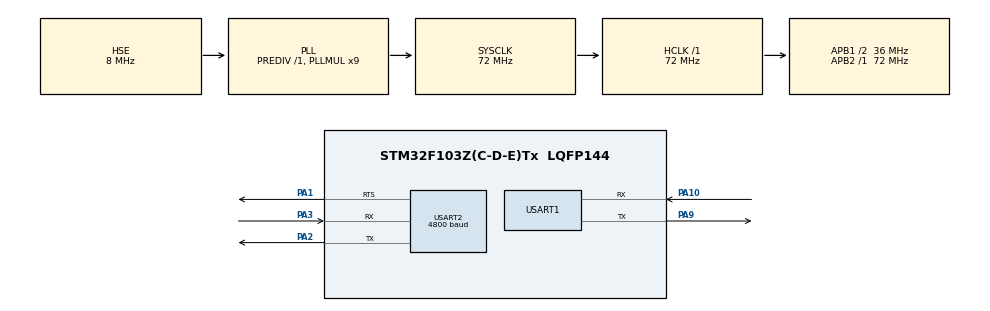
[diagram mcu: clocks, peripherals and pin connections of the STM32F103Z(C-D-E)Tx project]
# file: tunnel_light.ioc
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Mcu.Family=STM32F1
Mcu.Name=STM32F103Z(C-D-E)Tx
Mcu.Package=LQFP144
NVIC.PriorityGroup=NVIC_PRIORITYGROUP_4
NVIC.USART1_IRQn=true\:0\:0\:false\:false\:true\:true\:true
NVIC.USART2_IRQn=true\:0\:0\:false\:false\:true\:true\:true
OSC_IN.Mode=HSE-External-Oscillator
OSC_IN.Signal=RCC_OSC_IN
OSC_OUT.Mode=HSE-External-Oscillator
OSC_OUT.Signal=RCC_OSC_OUT
PA1.Mode=RTS_Only
PA1.Signal=USART2_RTS
PA10.Mode=Asynchronous
PA10.Signal=USART1_RX
PA13.Mode=Serial_Wire
PA13.Signal=SYS_JTMS-SWDIO
PA14.Mode=Serial_Wire
PA14.Signal=SYS_JTCK-SWCLK
PA2.Mode=Asynchronous
PA2.Signal=USART2_TX
PA3.Mode=Asynchronous
PA3.Signal=USART2_RX
PA9.Mode=Asynchronous
PA9.Signal=USART1_TX
ProjectManager.HeapSize=0x200
ProjectManager.StackSize=0x400
ProjectManager.TargetToolchain=MDK-ARM V5.27
RCC.AHBFreq_Value=72000000
RCC.APB1CLKDivider=RCC_HCLK_DIV2
RCC.APB1Freq_Value=36000000
RCC.APB1TimFreq_Value=72000000
RCC.APB2Freq_Value=72000000
RCC.APB2TimFreq_Value=72000000
RCC.HCLKFreq_Value=72000000
RCC.PLLMUL=RCC_PLL_MUL9
RCC.PLLSourceVirtual=RCC_PLLSOURCE_HSE
RCC.SYSCLKFreq_VALUE=72000000
RCC.SYSCLKSource=RCC_SYSCLKSOURCE_PLLCLK
RCC.USBFreq_Value=72000000
USART1.VirtualMode=VM_ASYNC
USART2.BaudRate=4800
USART2.VirtualMode=VM_ASYNC
board=custom

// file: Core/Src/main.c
/* USER CODE BEGIN Header */
/**
  ******************************************************************************
  * @file           : main.c
  * @brief          : Main program body
  ******************************************************************************
  * @attention
  *
  * <h2><center>&copy; Copyright (c) 2021 STMicroelectronics.
  * All rights reserved.</center></h2>
  *
  * This software component is licensed by ST under BSD 3-Clause license,
  * the "License"; You may not use this file except in compliance with the
  * License. You may obtain a copy of the License at:
  *                        opensource.org/licenses/BSD-3-Clause
  *
  ******************************************************************************
  */
/* USER CODE END Header */
#include "main.h"

/* USER CODE BEGIN Includes */
#include "stdio.h"
#include "stdint.h"
/* USER CODE END Includes */

UART_HandleTypeDef huart1;
UART_HandleTypeDef huart2;

/* USER CODE BEGIN PV */
uint8_t rs485buf[8] ={0X01,0X03,0X00,0X03,0X00,0X01,0X74,0X0A};
uint8_t rs1[7];		// 用来接收串口2发送的数据
/* USER CODE END PV */

void SystemClock_Config(void);
static void MX_GPIO_Init(void);
static void MX_USART1_UART_Init(void);
static void MX_USART2_UART_Init(void);
/* USER CODE BEGIN PFP */
int fputc(int ch,FILE *f)
{
   HAL_UART_Transmit(&huart1,(uint8_t *)&ch,1,0xFFFF);
   return ch;
}

/* USER CODE END PFP */

int main(void)
{

  /* MCU Configuration--------------------------------------------------------*/

  /* Reset of all peripherals, Initializes the Flash interface and the Systick. */
  HAL_Init();

  /* Configure the system clock */
  SystemClock_Config();

  /* Initialize all configured peripherals */
  MX_GPIO_Init();
  MX_USART1_UART_Init();
  MX_USART2_UART_Init();
  /* USER CODE BEGIN 2 */
  // HAL_UART_Receive_IT(&huart2,(uint8_t *)&rs1,7);

  /* USER CODE END 2 */

  /* Infinite loop */
  /* USER CODE BEGIN WHILE */
  while (1)
  {
    HAL_Delay(10);
    HAL_UART_Transmit(&huart2, (uint8_t*)&rs485buf, sizeof(rs485buf), 5000);

    HAL_Delay(100);
      printf("%02x\t\n",rs1[0]);
			printf("%02x\t\n",rs1[1]);
			printf("%02x\t\n",rs1[2]);
			printf("%02x\t\n",rs1[3]);
			printf("%02x\t\n",rs1[4]);
			printf("%02x\t\n",rs1[5]);
			printf("%02x\t\n",rs1[6]);

    /* USER CODE END WHILE */

  }
}

void SystemClock_Config(void)
{
  RCC_OscInitTypeDef RCC_OscInitStruct = {0};
  RCC_ClkInitTypeDef RCC_ClkInitStruct = {0};

  /** Initializes the RCC Oscillators according to the specified parameters
  * in the RCC_OscInitTypeDef structure.
  */
  RCC_OscInitStruct.OscillatorType = RCC_OSCILLATORTYPE_HSE;
  RCC_OscInitStruct.HSEState = RCC_HSE_ON;
  RCC_OscInitStruct.HSEPredivValue = RCC_HSE_PREDIV_DIV1;
  RCC_OscInitStruct.HSIState = RCC_HSI_ON;
  RCC_OscInitStruct.PLL.PLLState = RCC_PLL_ON;
  RCC_OscInitStruct.PLL.PLLSource = RCC_PLLSOURCE_HSE;
  RCC_OscInitStruct.PLL.PLLMUL = RCC_PLL_MUL9;
  if (HAL_RCC_OscConfig(&RCC_OscInitStruct) != HAL_OK)
  {
    Error_Handler();
  }
  /** Initializes the CPU, AHB and APB buses clocks
  */
  RCC_ClkInitStruct.ClockType = RCC_CLOCKTYPE_HCLK|RCC_CLOCKTYPE_SYSCLK
                              |RCC_CLOCKTYPE_PCLK1|RCC_CLOCKTYPE_PCLK2;
  RCC_ClkInitStruct.SYSCLKSource = RCC_SYSCLKSOURCE_PLLCLK;
  RCC_ClkInitStruct.AHBCLKDivider = RCC_SYSCLK_DIV1;
  RCC_ClkInitStruct.APB1CLKDivider = RCC_HCLK_DIV2;
  RCC_ClkInitStruct.APB2CLKDivider = RCC_HCLK_DIV1;

  if (HAL_RCC_ClockConfig(&RCC_ClkInitStruct, FLASH_LATENCY_2) != HAL_OK)
  {
    Error_Handler();
  }
}

static void MX_USART1_UART_Init(void)
{

  huart1.Instance = USART1;
  huart1.Init.BaudRate = 115200;
  huart1.Init.WordLength = UART_WORDLENGTH_8B;
  huart1.Init.StopBits = UART_STOPBITS_1;
  huart1.Init.Parity = UART_PARITY_NONE;
  huart1.Init.Mode = UART_MODE_TX_RX;
  huart1.Init.HwFlowCtl = UART_HWCONTROL_NONE;
  huart1.Init.OverSampling = UART_OVERSAMPLING_16;
  if (HAL_UART_Init(&huart1) != HAL_OK)
  {
    Error_Handler();
  }

}

static void MX_USART2_UART_Init(void)
{

  huart2.Instance = USART2;
  huart2.Init.BaudRate = 4800;
  huart2.Init.WordLength = UART_WORDLENGTH_8B;
  huart2.Init.StopBits = UART_STOPBITS_1;
  huart2.Init.Parity = UART_PARITY_NONE;
  huart2.Init.Mode = UART_MODE_TX_RX;
  huart2.Init.HwFlowCtl = UART_HWCONTROL_RTS;
  huart2.Init.OverSampling = UART_OVERSAMPLING_16;
  if (HAL_UART_Init(&huart2) != HAL_OK)
  {
    Error_Handler();
  }

}

static void MX_GPIO_Init(void)
{

  /* GPIO Ports Clock Enable */
  __HAL_RCC_GPIOA_CLK_ENABLE();

}

void Error_Handler(void)
{
  __disable_irq();
  while (1)
  {
  }
}

/************************ (C) COPYRIGHT STMicroelectronics *****END OF FILE****/
